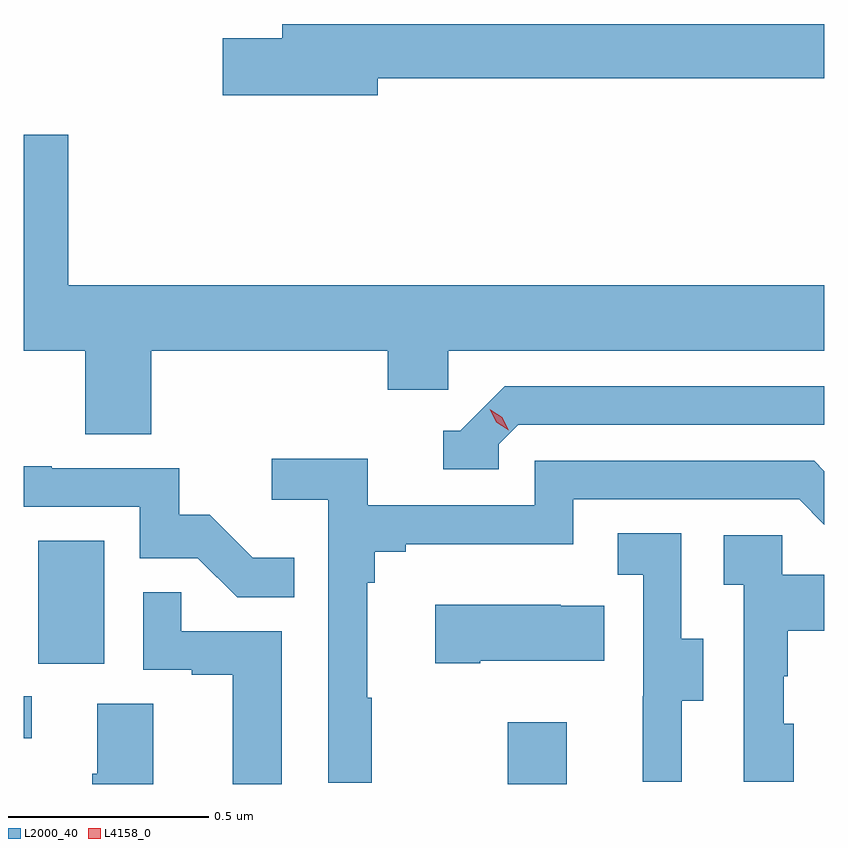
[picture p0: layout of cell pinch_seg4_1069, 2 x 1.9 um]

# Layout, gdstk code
import gdstk
lib = gdstk.Library(unit=1e-6, precision=1e-09)
def R(c, l, rs):  # rectangles x0, y0, x1, y1
    for r in rs: c.add(gdstk.rectangle(r[:2], r[2:], *l))
def P(c, l, *ps):  # polygons
    for p in ps: c.add(gdstk.Polygon(p, *l))
L2000_40 = (2000, 40)
L4158_0 = (4158, 0)

pinch_seg4_1069 = lib.new_cell('pinch_seg4_1069')
R(pinch_seg4_1069, L2000_40, [(813.622,750.45,813.769,750.604), (812.413,750.564,812.434,750.669), (812.45,750.75,812.614,751.057)])
P(pinch_seg4_1069, L2000_40, [(813.298,752.212),(814.413,752.212),(814.413,752.348),(813.059,752.348),(813.059,752.312),(812.91,752.312),(812.91,752.17),(813.298,752.17)],
  [(812.524,752.071),(812.413,752.071),(812.413,751.532),(812.567,751.532),(812.567,751.324),(812.732,751.324),(812.732,751.532),(813.323,751.532),(813.323,751.434),(813.474,751.434),(813.474,751.532),(814.413,751.532),(814.413,751.696),(812.524,751.696)],
  [(813.6,751.299),(813.648,751.347),(814.413,751.347),(814.413,751.443),(813.615,751.443),(813.504,751.332),(813.461,751.332),(813.461,751.236),(813.6,751.236)],
  [(813.283,750.665),(813.271,750.665),(813.271,750.953),(813.29,750.953),(813.29,751.03),(813.367,751.03),(813.367,751.049),(813.786,751.049),(813.786,751.161),(814.35,751.161),(814.413,751.098),(814.413,751.231),(814.387,751.257),(813.69,751.257),(813.69,751.146),(813.272,751.146),(813.272,751.262),(813.033,751.262),(813.033,751.16),(813.174,751.16),(813.174,750.453),(813.283,750.453)],
  [(813.089,751.015),(812.985,751.015),(812.878,751.122),(812.802,751.122),(812.802,751.239),(812.483,751.239),(812.483,751.244),(812.413,751.244),(812.413,751.143),(812.703,751.143),(812.703,751.014),(812.848,751.014),(812.946,750.916),(813.089,750.916)],
  [(814.057,750.658),(814.111,750.658),(814.111,750.813),(814.056,750.813),(814.056,751.076),(813.897,751.076),(813.897,750.973),(813.96,750.973),(813.96,750.669),(813.959,750.669),(813.959,750.456),(814.057,750.456)],
  [(814.336,750.6),(814.311,750.6),(814.311,750.719),(814.321,750.719),(814.321,750.833),(814.413,750.833),(814.413,750.973),(814.308,750.973),(814.308,751.071),(814.161,751.071),(814.161,750.947),(814.212,750.947),(814.212,750.456),(814.336,750.456)],
  [(813.058,750.831),(812.807,750.831),(812.807,750.929),(812.712,750.929),(812.712,750.735),(812.833,750.735),(812.833,750.723),(812.936,750.723),(812.936,750.45),(813.058,750.45)],
  [(813.553,750.758),(813.863,750.758),(813.863,750.895),(813.755,750.895),(813.755,750.898),(813.441,750.898),(813.441,750.751),(813.553,750.751)],
  [(812.737,750.65),(812.597,750.65),(812.597,750.476),(812.585,750.476),(812.585,750.45),(812.737,750.45)])
P(pinch_seg4_1069, L4158_0, [(813.625,751.334),(813.594,751.353),(813.577,751.386),(813.577,751.386),(813.577,751.386),(813.608,751.366),(813.625,751.334),(813.625,751.334)])

lib.write_gds('pinch_seg4_1069.gds')
